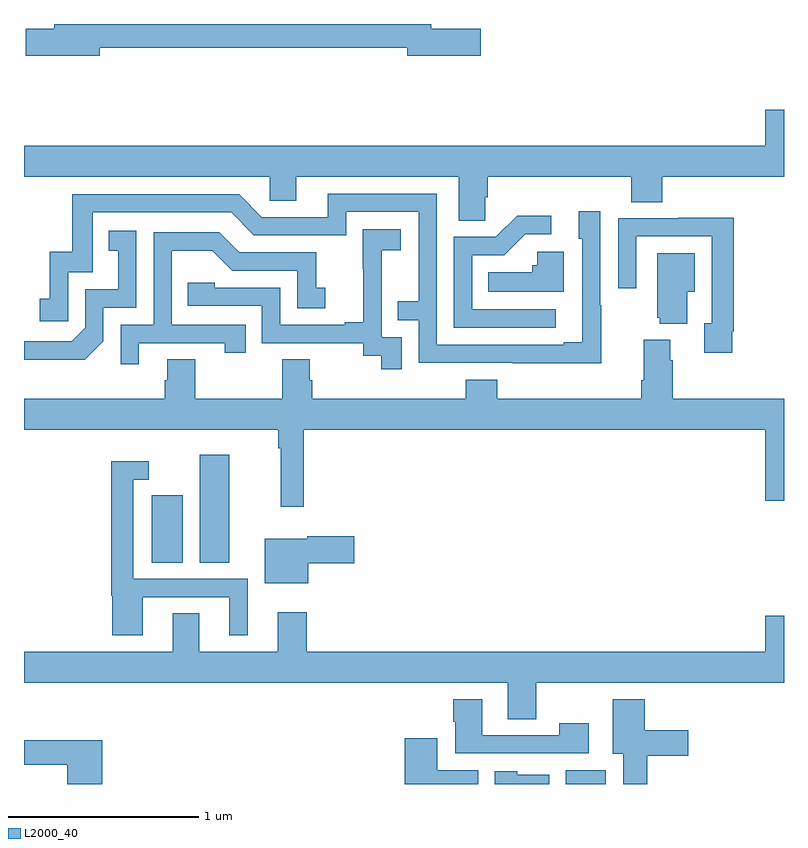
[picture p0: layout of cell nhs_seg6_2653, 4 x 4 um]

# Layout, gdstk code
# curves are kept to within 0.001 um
import gdstk
lib = gdstk.Library(unit=1e-6, precision=1e-09)
def R(c, l, rs):  # rectangles x0, y0, x1, y1
    for r in rs: c.add(gdstk.rectangle(r[:2], r[2:], *l))
def P(c, l, *ps):  # polygons
    for p in ps: c.add(gdstk.Polygon(p, *l))
L2000_40 = (2000, 40)

nhs_seg6_2653 = lib.new_cell('nhs_seg6_2653')
R(nhs_seg6_2653, L2000_40, [(271.85,917.5,272.062,917.572), (269.672,918.664,269.836,919.021), (269.924,918.664,270.079,919.234)])
P(nhs_seg6_2653, L2000_40, [(269.398,921.376),(271.016,921.376),(271.016,921.334),(271.405,921.334),(271.405,921.476),(271.144,921.476),(271.144,921.5),(269.159,921.5),(269.159,921.476),(269.01,921.476),(269.01,921.334),(269.398,921.334)],
  [(269,920.696),(270.294,920.696),(270.294,920.569),(270.433,920.569),(270.433,920.696),(271.289,920.696),(271.289,920.464),(271.428,920.464),(271.428,920.587),(271.442,920.587),(271.442,920.696),(272.195,920.696),(272.195,920.563),(272.36,920.563),(272.36,920.696),(273,920.696),(273,921.049),(272.9,921.049),(272.9,920.86),(269,920.86)],
  [(272.037,920.021),(272.034,920.021),(272.034,920.515),(271.919,920.515),(271.919,920.37),(271.938,920.37),(271.938,919.825),(271.841,919.825),(271.841,919.812),(271.173,919.812),(271.173,920.607),(270.599,920.607),(270.599,920.484),(270.252,920.484),(270.132,920.604),(269.253,920.604),(269.253,920.302),(269.135,920.302),(269.135,920.055),(269.082,920.055),(269.082,919.935),(269.232,919.935),(269.232,920.193),(269.361,920.193),(269.361,920.508),(270.09,920.508),(270.21,920.388),(270.696,920.388),(270.696,920.511),(271.077,920.511),(271.077,920.042),(270.967,920.042),(270.967,919.941),(271.077,919.941),(271.077,919.716),(272.037,919.715)],
  [(271.798,919.998),(271.359,919.998),(271.359,920.283),(271.528,920.283),(271.639,920.394),(271.774,920.394),(271.774,920.492),(271.595,920.492),(271.482,920.379),(271.263,920.379),(271.263,919.902),(271.798,919.902)],
  [(272.728,919.882),(272.735,919.882),(272.735,920.48),(272.443,920.48),(272.443,920.478),(272.127,920.478),(272.127,920.109),(272.223,920.109),(272.223,920.382),(272.619,920.382),(272.619,919.926),(272.579,919.926),(272.579,919.77),(272.728,919.77)],
  [(270.987,919.851),(270.882,919.851),(270.882,920.081),(270.884,920.081),(270.884,920.309),(270.982,920.309),(270.982,920.419),(270.784,920.419),(270.784,920.213),(270.785,920.213),(270.785,919.93),(270.689,919.93),(270.689,919.917),(270.348,919.917),(270.348,920.112),(270.003,920.112),(270.003,920.139),(269.863,920.139),(269.863,920.016),(270.252,920.016),(270.252,919.821),(270.786,919.821),(270.786,919.753),(270.879,919.753),(270.879,919.683),(270.987,919.683)],
  [(269.418,919.83),(269.418,920.007),(269.592,920.007),(269.592,920.413),(269.446,920.413),(269.446,920.307),(269.495,920.307),(269.495,920.103),(269.322,920.103),(269.322,919.902),(269.25,919.83),(269,919.83),(269,919.733),(269.32,919.733)],
  [(269.605,919.821),(270.056,919.821),(270.056,919.77),(270.167,919.77),(270.167,919.917),(269.778,919.917),(269.778,920.306),(269.992,920.306),(270.096,920.202),(270.438,920.202),(270.438,920.004),(270.586,920.004),(270.586,920.113),(270.537,920.113),(270.537,920.298),(270.133,920.298),(270.028,920.403),(269.682,920.403),(269.682,919.917),(269.508,919.917),(269.508,919.71),(269.605,919.71)],
  [(271.84,920.302),(271.701,920.302),(271.701,920.229),(271.675,920.229),(271.675,920.194),(271.444,920.194),(271.444,920.09),(271.84,920.09)],
  [(272.491,920.09),(272.53,920.09),(272.53,920.293),(272.333,920.293),(272.333,919.953),(272.345,919.953),(272.345,919.922),(272.491,919.922)],
  [(272.9,918.99),(273,918.99),(273,919.528),(272.414,919.528),(272.414,919.73),(272.401,919.73),(272.401,919.837),(272.261,919.837),(272.261,919.624),(272.249,919.624),(272.249,919.528),(271.49,919.528),(271.49,919.627),(271.325,919.627),(271.325,919.528),(270.518,919.528),(270.518,919.626),(270.505,919.626),(270.505,919.736),(270.358,919.736),(270.358,919.528),(269.901,919.528),(269.901,919.736),(269.753,919.736),(269.753,919.626),(269.741,919.626),(269.741,919.528),(269,919.528),(269,919.364),(270.337,919.364),(270.337,919.268),(270.352,919.268),(270.352,918.96),(270.473,918.96),(270.473,919.364),(272.9,919.364)],
  [(269.626,918.483),(270.08,918.483),(270.08,918.282),(270.178,918.282),(270.178,918.579),(269.574,918.579),(269.574,919.101),(269.656,919.101),(269.656,919.198),(269.458,919.198),(269.458,918.492),(269.465,918.492),(269.465,918.282),(269.626,918.282)],
  [(270.496,918.661),(270.739,918.661),(270.739,918.803),(270.492,918.803),(270.492,918.79),(270.266,918.79),(270.266,918.557),(270.496,918.557)],
  [(271.547,917.842),(271.695,917.842),(271.695,918.032),(273,918.032),(273,918.385),(272.9,918.385),(272.9,918.196),(270.488,918.196),(270.488,918.403),(270.335,918.403),(270.335,918.196),(269.923,918.196),(269.923,918.398),(269.783,918.398),(269.783,918.196),(269,918.196),(269,918.032),(271.547,918.032)],
  [(272.279,917.648),(272.497,917.648),(272.497,917.782),(272.266,917.782),(272.266,917.947),(272.099,917.947),(272.099,917.66),(272.153,917.66),(272.153,917.5),(272.279,917.5)],
  [(271.972,917.821),(271.816,917.821),(271.816,917.757),(271.411,917.757),(271.411,917.947),(271.259,917.947),(271.259,917.827),(271.271,917.827),(271.271,917.661),(271.972,917.661)],
  [(271.39,917.572),(271.174,917.572),(271.174,917.74),(271.004,917.74),(271.004,917.5),(271.39,917.5)],
  [(269.411,917.731),(269,917.731),(269,917.602),(269.228,917.602),(269.228,917.5),(269.411,917.5)],
  [(271.765,917.548),(271.596,917.548),(271.596,917.566),(271.478,917.566),(271.478,917.5),(271.765,917.5)])

lib.write_gds('nhs_seg6_2653.gds')
